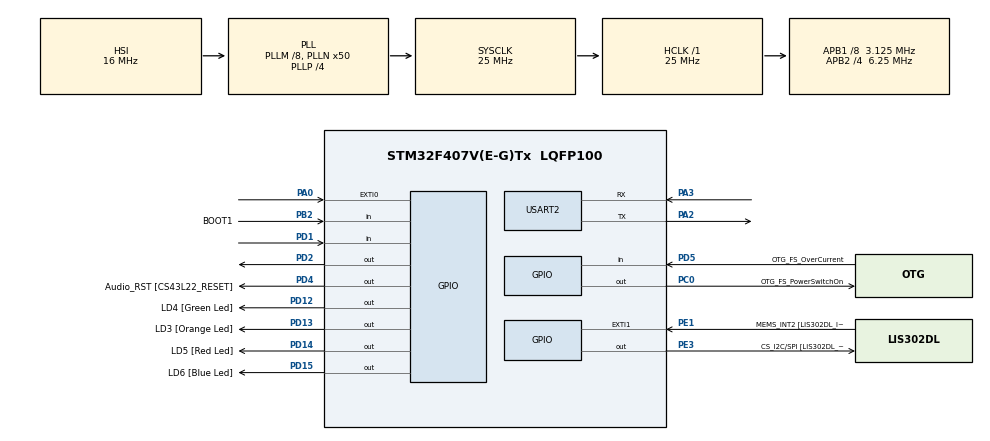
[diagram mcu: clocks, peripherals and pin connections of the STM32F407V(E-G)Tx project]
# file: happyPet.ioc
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Mcu.Family=STM32F4
Mcu.Name=STM32F407V(E-G)Tx
Mcu.Package=LQFP100
NVIC.EXTI0_IRQn=true\:0\:0\:false\:false\:true\:true
NVIC.PriorityGroup=NVIC_PRIORITYGROUP_0
NVIC.USART2_IRQn=true\:0\:0\:false\:false\:true\:true
PA0-WKUP.Signal=GPXTI0
PA10.GPIO_Label=OTG_FS_ID
PA10.GPIO_Mode=GPIO_MODE_AF_PP
PA10.GPIO_PuPd=GPIO_NOPULL
PA10.GPIO_Speed=GPIO_SPEED_FREQ_LOW
PA10.Signal=USB_OTG_FS_ID
PA11.GPIO_Label=OTG_FS_DM
PA11.GPIO_Mode=GPIO_MODE_AF_PP
PA11.GPIO_PuPd=GPIO_NOPULL
PA11.GPIO_Speed=GPIO_SPEED_FREQ_LOW
PA11.Signal=USB_OTG_FS_DM
PA12.GPIO_Label=OTG_FS_DP
PA12.GPIO_Mode=GPIO_MODE_AF_PP
PA12.GPIO_PuPd=GPIO_NOPULL
PA12.GPIO_Speed=GPIO_SPEED_FREQ_LOW
PA12.Signal=USB_OTG_FS_DP
PA13.GPIO_Label=SWDIO
PA13.Signal=SYS_JTMS-SWDIO
PA14.GPIO_Label=SWCLK
PA14.Signal=SYS_JTCK-SWCLK
PA2.Mode=Asynchronous
PA2.Signal=USART2_TX
PA3.Mode=Asynchronous
PA3.Signal=USART2_RX
PA4.GPIO_Label=I2S3_WS [CS43L22_LRCK]
PA4.GPIO_Mode=GPIO_MODE_AF_PP
PA4.GPIO_PuPd=GPIO_NOPULL
PA4.GPIO_Speed=GPIO_SPEED_FREQ_LOW
PA4.Signal=I2S3_WS
PA5.GPIO_Label=SPI1_SCK [LIS302DL_SCL/SPC]
PA5.GPIO_Mode=GPIO_MODE_AF_PP
PA5.GPIO_PuPd=GPIO_NOPULL
PA5.GPIO_Speed=GPIO_SPEED_FREQ_LOW
PA5.Signal=SPI1_SCK
PA6.GPIO_Label=SPI1_MISO [LIS302DL_SDO]
PA6.GPIO_Mode=GPIO_MODE_AF_PP
PA6.GPIO_PuPd=GPIO_NOPULL
PA6.GPIO_Speed=GPIO_SPEED_FREQ_LOW
PA6.Signal=SPI1_MISO
PA7.GPIO_Label=SPI1_MOSI [LIS302DL_SDA/SDI/SDO]
PA7.GPIO_Mode=GPIO_MODE_AF_PP
PA7.GPIO_PuPd=GPIO_NOPULL
PA7.GPIO_Speed=GPIO_SPEED_FREQ_LOW
PA7.Signal=SPI1_MOSI
PA9.GPIO_Label=VBUS_FS
PA9.GPIO_Mode=GPIO_MODE_INPUT
PA9.GPIO_PuPd=GPIO_NOPULL
PA9.Signal=USB_OTG_FS_VBUS
PB10.GPIO_Label=CLK_IN [MP45DT02_CLK]
PB10.GPIO_Mode=GPIO_MODE_AF_PP
PB10.GPIO_PuPd=GPIO_NOPULL
PB10.GPIO_Speed=GPIO_SPEED_FREQ_LOW
PB10.Signal=I2S2_CK
PB2.GPIO_Label=BOOT1
PB2.GPIO_Mode=GPIO_MODE_INPUT
PB2.GPIO_PuPd=GPIO_NOPULL
PB2.Signal=GPIO_Input
PB3.GPIO_Label=SWO
PB3.Signal=SYS_JTDO-SWO
PB6.GPIO_Label=Audio_SCL [CS43L22_SCL]
PB6.GPIO_Mode=GPIO_MODE_AF_OD
PB6.GPIO_PuPd=GPIO_NOPULL
PB6.GPIO_Speed=GPIO_SPEED_FREQ_LOW
PB6.Signal=I2C1_SCL
PB9.GPIO_Label=Audio_SDA [CS43L22_SDA]
PB9.GPIO_Mode=GPIO_MODE_AF_OD
PB9.GPIO_PuPd=GPIO_NOPULL
PB9.GPIO_Speed=GPIO_SPEED_FREQ_LOW
PB9.Signal=I2C1_SDA
PC0.GPIO_Label=OTG_FS_PowerSwitchOn
PC0.GPIO_PuPd=GPIO_NOPULL
PC0.GPIO_Speed=GPIO_SPEED_FREQ_LOW
PC0.PinState=GPIO_PIN_SET
PC0.Signal=GPIO_Output
PC10.GPIO_Label=I2S3_SCK [CS43L22_SCLK]
PC10.GPIO_Mode=GPIO_MODE_AF_PP
PC10.GPIO_PuPd=GPIO_NOPULL
PC10.GPIO_Speed=GPIO_SPEED_FREQ_LOW
PC10.Signal=I2S3_CK
PC12.GPIO_Label=I2S3_SD [CS43L22_SDIN]
PC12.GPIO_Mode=GPIO_MODE_AF_PP
PC12.GPIO_PuPd=GPIO_NOPULL
PC12.GPIO_Speed=GPIO_SPEED_FREQ_LOW
PC12.Signal=I2S3_SD
PC14-OSC32_IN.GPIO_Label=PC14-OSC32_IN
PC14-OSC32_IN.Signal=RCC_OSC32_IN
PC15-OSC32_OUT.GPIO_Label=PC15-OSC32_OUT
PC15-OSC32_OUT.Signal=RCC_OSC32_OUT
PC3.GPIO_Label=PDM_OUT [MP45DT02_DOUT]
PC3.GPIO_Mode=GPIO_MODE_AF_PP
PC3.GPIO_PuPd=GPIO_NOPULL
PC3.GPIO_Speed=GPIO_SPEED_FREQ_LOW
PC3.Signal=I2S2_SD
PC7.GPIO_Label=I2S3_MCK [CS43L22_MCLK]
PC7.GPIO_Mode=GPIO_MODE_AF_PP
PC7.GPIO_PuPd=GPIO_NOPULL
PC7.GPIO_Speed=GPIO_SPEED_FREQ_LOW
PC7.Signal=I2S3_MCK
PD1.Signal=GPIO_Input
PD12.GPIO_Label=LD4 [Green Led]
PD12.GPIO_PuPd=GPIO_NOPULL
PD12.GPIO_Speed=GPIO_SPEED_FREQ_LOW
PD12.Signal=GPIO_Output
PD13.GPIO_Label=LD3 [Orange Led]
PD13.GPIO_PuPd=GPIO_NOPULL
PD13.GPIO_Speed=GPIO_SPEED_FREQ_LOW
PD13.Signal=GPIO_Output
PD14.GPIO_Label=LD5 [Red Led]
PD14.GPIO_PuPd=GPIO_NOPULL
PD14.GPIO_Speed=GPIO_SPEED_FREQ_LOW
PD14.Signal=GPIO_Output
PD15.GPIO_Label=LD6 [Blue Led]
PD15.GPIO_PuPd=GPIO_NOPULL
PD15.GPIO_Speed=GPIO_SPEED_FREQ_LOW
PD15.Signal=GPIO_Output
PD2.Signal=GPIO_Output
PD4.GPIO_Label=Audio_RST [CS43L22_RESET]
PD4.GPIO_PuPd=GPIO_NOPULL
PD4.GPIO_Speed=GPIO_SPEED_FREQ_LOW
PD4.Signal=GPIO_Output
PD5.GPIO_Label=OTG_FS_OverCurrent
PD5.GPIO_Mode=GPIO_MODE_INPUT
PD5.GPIO_PuPd=GPIO_NOPULL
PD5.Signal=GPIO_Input
PE1.GPIO_Label=MEMS_INT2 [LIS302DL_INT2]
PE1.GPIO_ModeDefaultEXTI=GPIO_MODE_EVT_RISING
PE1.GPIO_PuPd=GPIO_NOPULL
PE1.Signal=GPXTI1
PE3.GPIO_Label=CS_I2C/SPI [LIS302DL_CS_I2C/SPI]
PE3.GPIO_PuPd=GPIO_NOPULL
PE3.GPIO_Speed=GPIO_SPEED_FREQ_LOW
PE3.Signal=GPIO_Output
PH0-OSC_IN.GPIO_Label=PH0-OSC_IN
PH0-OSC_IN.Signal=RCC_OSC_IN
PH1-OSC_OUT.GPIO_Label=PH1-OSC_OUT
PH1-OSC_OUT.Signal=RCC_OSC_OUT
ProjectManager.HeapSize=0x200
ProjectManager.StackSize=0x400
ProjectManager.TargetToolchain=SW4STM32
RCC.48MHZClocksFreq_Value=14285714.285714285
RCC.AHBFreq_Value=25000000
RCC.APB1CLKDivider=RCC_HCLK_DIV8
RCC.APB1Freq_Value=3125000
RCC.APB1TimFreq_Value=6250000
RCC.APB2CLKDivider=RCC_HCLK_DIV4
RCC.APB2Freq_Value=6250000
RCC.APB2TimFreq_Value=12500000
RCC.CortexFreq_Value=25000000
RCC.HCLKFreq_Value=25000000
RCC.HSE_VALUE=8000000
RCC.HSI_VALUE=16000000
RCC.LSE_VALUE=32768
RCC.PLLM=8
RCC.PLLN=50
RCC.PLLP=RCC_PLLP_DIV4
RCC.PLLQ=7
RCC.SYSCLKFreq_VALUE=25000000
RCC.SYSCLKSource=RCC_SYSCLKSOURCE_PLLCLK
RCC.VCOOutputFreq_Value=100000000
USART2.VirtualMode=VM_ASYNC
board=STM32F4DISCOVERY

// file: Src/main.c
/**
 ******************************************************************************
 * @file           : main.c
 * @brief          : Main program body
 ******************************************************************************
 ** This notice applies to any and all portions of this file
 * that are not between comment pairs USER CODE BEGIN and
 * USER CODE END. Other portions of this file, whether
 * inserted by the user or by software development tools
 * are owned by their respective copyright owners.
 *
 * COPYRIGHT(c) 2561 STMicroelectronics
 *
 * Redistribution and use in source and binary forms, with or without modification,
 * are permitted provided that the following conditions are met:
 *   1. Redistributions of source code must retain the above copyright notice,
 *      this list of conditions and the following disclaimer.
 *   2. Redistributions in binary form must reproduce the above copyright notice,
 *      this list of conditions and the following disclaimer in the documentation
 *      and/or other materials provided with the distribution.
 *   3. Neither the name of STMicroelectronics nor the names of its contributors
 *      may be used to endorse or promote products derived from this software
 *      without specific prior written permission.
 *
 * THIS SOFTWARE IS PROVIDED BY THE COPYRIGHT HOLDERS AND CONTRIBUTORS "AS IS"
 * AND ANY EXPRESS OR IMPLIED WARRANTIES, INCLUDING, BUT NOT LIMITED TO, THE
 * IMPLIED WARRANTIES OF MERCHANTABILITY AND FITNESS FOR A PARTICULAR PURPOSE ARE
 * DISCLAIMED. IN NO EVENT SHALL THE COPYRIGHT HOLDER OR CONTRIBUTORS BE LIABLE
 * FOR ANY DIRECT, INDIRECT, INCIDENTAL, SPECIAL, EXEMPLARY, OR CONSEQUENTIAL
 * DAMAGES (INCLUDING, BUT NOT LIMITED TO, PROCUREMENT OF SUBSTITUTE GOODS OR
 * SERVICES; LOSS OF USE, DATA, OR PROFITS; OR BUSINESS INTERRUPTION) HOWEVER
 * CAUSED AND ON ANY THEORY OF LIABILITY, WHETHER IN CONTRACT, STRICT LIABILITY,
 * OR TORT (INCLUDING NEGLIGENCE OR OTHERWISE) ARISING IN ANY WAY OUT OF THE USE
 * OF THIS SOFTWARE, EVEN IF ADVISED OF THE POSSIBILITY OF SUCH DAMAGE.
 *
 ******************************************************************************
 */
#include "main.h"
#include "stm32f4xx_hal.h"

UART_HandleTypeDef huart2;

/* USER CODE BEGIN PV */
/* Private variables ---------------------------------------------------------*/
int feed = 0, maxFeed = 4, overReq = 0;
int buffer;
char buffer2[32];
int w, p;
int isPressed = 0, state = 0, tick = 0;
int resetTime = 60, time = 0; // In half second
int food = 0;
int maxBowlCapacity = 500, bowl = 0, startBowl = 0, foodPerFeed = 200;
int addFood = 0;
char output[256];
/* USER CODE END PV */

void SystemClock_Config(void);
static void MX_GPIO_Init(void);
static void MX_USART2_UART_Init(void);

/* USER CODE BEGIN PFP */
/* Private function prototypes -----------------------------------------------*/

/* USER CODE END PFP */

/* USER CODE BEGIN 0 */

typedef struct _hx711 {
	GPIO_TypeDef* gpioSck;
	GPIO_TypeDef* gpioData;
	uint16_t pinSck;
	uint16_t pinData;

	int offset;
	int gain;
// 1: channel A, gain factor 128
// 2: channel B, gain factor 32
// 3: channel A, gain factor 64
} HX711;

HX711 data;

void HX711_Init(HX711 data) {
	GPIO_InitTypeDef GPIO_InitStruct;
	GPIO_InitStruct.Pin = data.pinSck;
	GPIO_InitStruct.Mode = GPIO_MODE_OUTPUT_PP;
	GPIO_InitStruct.Pull = GPIO_NOPULL;
	GPIO_InitStruct.Speed = GPIO_SPEED_FREQ_LOW;
	HAL_GPIO_Init(data.gpioSck, &GPIO_InitStruct);

	GPIO_InitStruct.Pin = data.pinData;
	GPIO_InitStruct.Mode = GPIO_MODE_INPUT;
	GPIO_InitStruct.Pull = GPIO_PULLUP;
	GPIO_InitStruct.Speed = GPIO_SPEED_FREQ_LOW;
	HAL_GPIO_Init(data.gpioData, &GPIO_InitStruct);

	HAL_GPIO_WritePin(data.gpioSck, data.pinSck, GPIO_PIN_SET);
	HAL_Delay(50);
	HAL_GPIO_WritePin(data.gpioData, data.pinSck, GPIO_PIN_RESET);

}

int HX711_Average_Value(HX711 data, uint8_t times) {
	int sum = 0;
	for (int i = 0; i < times; i++) {
		sum += HX711_Value(data);
		HAL_GPIO_TogglePin(GPIOD, GPIO_PIN_15);
	}

	return sum / times;
}

int HX711_Value(HX711 data) {
	int buffer;
	buffer = 0;

	while (HAL_GPIO_ReadPin(data.gpioData, data.pinData) == 1);

	for (uint8_t i = 0; i < 24; i++) {
		HAL_GPIO_WritePin(data.gpioSck, data.pinSck, GPIO_PIN_SET);

		buffer = buffer << 1;

		if (HAL_GPIO_ReadPin(data.gpioData, data.pinData)) {
			buffer++;
		}

		HAL_GPIO_WritePin(data.gpioSck, data.pinSck, GPIO_PIN_RESET);
	}

	for (int i = 0; i < data.gain; i++) {
		HAL_GPIO_WritePin(data.gpioSck, data.pinSck, GPIO_PIN_SET);
		HAL_GPIO_WritePin(data.gpioSck, data.pinSck, GPIO_PIN_RESET);
	}

	buffer = buffer ^ 0x800000;

	return buffer;
}

HX711 HX711_Tare(HX711 data, uint8_t times) {
	int sum = HX711_Average_Value(data, times);
	data.offset = sum;
	return data;
}

int getWeight() {
	buffer = HX711_Value(data) - data.offset;
	if(buffer<0)buffer=0;
	return buffer / 170;
}

int statefeed = 0;
void feeding() {
	int currentWeight = getWeight();
	if (foodPerFeed > (maxBowlCapacity - currentWeight)) {
		addFood = maxBowlCapacity - currentWeight;
	} else {
		addFood = foodPerFeed;
	}
	if(addFood < 0) addFood = 0;

	food += addFood;
	statefeed = 1;
	HAL_GPIO_TogglePin(GPIOD, GPIO_PIN_12);
}
/* USER CODE END 0 */

int main(void) {

	/* MCU Configuration----------------------------------------------------------*/

	/* Reset of all peripherals, Initializes the Flash interface and the Systick. */
	HAL_Init();

	/* Configure the system clock */
	SystemClock_Config();

	/* Initialize all configured peripherals */
	MX_GPIO_Init();
	MX_USART2_UART_Init();
	/* USER CODE BEGIN 2 */

	HAL_GPIO_TogglePin(GPIOD, GPIO_PIN_14);
//	HX711 data;
	data.gpioData = GPIOD;
	data.gpioSck = GPIOD;
	data.pinData = GPIO_PIN_1;
	data.pinSck = GPIO_PIN_2;
	data.gain = 1;
	HX711_Init(data);
	data = HX711_Tare(data, 100);

	HAL_GPIO_TogglePin(GPIOD, GPIO_PIN_12);
	HAL_GPIO_TogglePin(GPIOD, GPIO_PIN_13);
	HAL_GPIO_WritePin(GPIOD, GPIO_PIN_15, 1);

	/* USER CODE END 2 */

	/* Infinite loop */
	while (1) {

		/* USER CODE BEGIN 3 */
		memset(output, 0, 256);
		w = getWeight();
		memset(buffer2, 0, 32);

		if (time >= resetTime) {
			int catEat = startBowl+food-w;
			if(catEat > startBowl+food)catEat = startBowl+food;
			else if(catEat < 0)catEat = 0;

			sprintf(output, "Summary, Feed: %d times, Food: %dg, CatEat: %dg, Over: %d times.", feed, food, catEat, overReq);
			HAL_UART_Transmit(&huart2, output, sizeof(output), 100);
			feed = 0;
			time = 0;
			overReq = 0;
			food = 0;
			startBowl = w;
		}

		//1 tick = 100ms
		if (tick == 10) {
			sprintf(output, "weight: %d g feed: %d times TimeCounter: %d OverReqeust: %d times.", w, feed, time, overReq);
			HAL_UART_Transmit(&huart2, output, sizeof(output), 100);
			tick = 0;
		}

		if (HAL_UART_Receive(&huart2, buffer2, 7, 500) == HAL_OK) {
			//Type "feed" to trigger.
			if (buffer2[0] == '1') {
				HAL_GPIO_TogglePin(GPIOD, GPIO_PIN_14);
				feeding();
				feed++;
				statefeed = 0;
			}

			//Set max feed , food per feed
			else if (buffer2[0] == '2') {
//				memset(output, 0, 256);
//				sprintf(output, "weight: %d g feed: %d times OverReqeust: %d times.", w, feed, overReq);
//				HAL_UART_Transmit(&huart2, output, sizeof(output), 100);
				char *ptr;
				ptr = strtok(buffer2," ");
				ptr = strtok(NULL," ");//ptr point to second element.
				maxFeed = atoi(ptr);

				ptr = strtok(NULL," ");//ptr point to third element.
				foodPerFeed = atoi(ptr);

				sprintf(output, "Now set max feed to %d and food per feed to %d.", maxFeed, foodPerFeed);
				HAL_UART_Transmit(&huart2, output, sizeof(output),100);
			}
		}

		if(statefeed == 1 ){
			sprintf(output, "Feeding: %dg.", addFood);
			HAL_UART_Transmit(&huart2, output, sizeof(output),100);
			statefeed = 0;
		}

		tick++;
		time++;
		HAL_GPIO_TogglePin(GPIOD, GPIO_PIN_15);
		HAL_Delay(100);
	}
	/* USER CODE END 3 */

}

void SystemClock_Config(void) {

	RCC_OscInitTypeDef RCC_OscInitStruct;
	RCC_ClkInitTypeDef RCC_ClkInitStruct;

	/**Configure the main internal regulator output voltage
	 */
	__HAL_RCC_PWR_CLK_ENABLE()
	;

	__HAL_PWR_VOLTAGESCALING_CONFIG(PWR_REGULATOR_VOLTAGE_SCALE1);

	/**Initializes the CPU, AHB and APB busses clocks
	 */
	RCC_OscInitStruct.OscillatorType = RCC_OSCILLATORTYPE_HSI;
	RCC_OscInitStruct.HSIState = RCC_HSI_ON;
	RCC_OscInitStruct.HSICalibrationValue = 16;
	RCC_OscInitStruct.PLL.PLLState = RCC_PLL_ON;
	RCC_OscInitStruct.PLL.PLLSource = RCC_PLLSOURCE_HSI;
	RCC_OscInitStruct.PLL.PLLM = 8;
	RCC_OscInitStruct.PLL.PLLN = 50;
	RCC_OscInitStruct.PLL.PLLP = RCC_PLLP_DIV4;
	RCC_OscInitStruct.PLL.PLLQ = 7;
	if (HAL_RCC_OscConfig(&RCC_OscInitStruct) != HAL_OK) {
		_Error_Handler(__FILE__, __LINE__);
	}

	/**Initializes the CPU, AHB and APB busses clocks
	 */
	RCC_ClkInitStruct.ClockType = RCC_CLOCKTYPE_HCLK | RCC_CLOCKTYPE_SYSCLK
			| RCC_CLOCKTYPE_PCLK1 | RCC_CLOCKTYPE_PCLK2;
	RCC_ClkInitStruct.SYSCLKSource = RCC_SYSCLKSOURCE_PLLCLK;
	RCC_ClkInitStruct.AHBCLKDivider = RCC_SYSCLK_DIV1;
	RCC_ClkInitStruct.APB1CLKDivider = RCC_HCLK_DIV8;
	RCC_ClkInitStruct.APB2CLKDivider = RCC_HCLK_DIV4;

	if (HAL_RCC_ClockConfig(&RCC_ClkInitStruct, FLASH_LATENCY_0) != HAL_OK) {
		_Error_Handler(__FILE__, __LINE__);
	}

	/**Configure the Systick interrupt time
	 */
	HAL_SYSTICK_Config(HAL_RCC_GetHCLKFreq() / 1000);

	/**Configure the Systick
	 */
	HAL_SYSTICK_CLKSourceConfig(SYSTICK_CLKSOURCE_HCLK);

	/* SysTick_IRQn interrupt configuration */
	HAL_NVIC_SetPriority(SysTick_IRQn, 0, 0);
}

/* USART2 init function */
static void MX_USART2_UART_Init(void) {

	huart2.Instance = USART2;
	huart2.Init.BaudRate = 115200;
	huart2.Init.WordLength = UART_WORDLENGTH_8B;
	huart2.Init.StopBits = UART_STOPBITS_1;
	huart2.Init.Parity = UART_PARITY_NONE;
	huart2.Init.Mode = UART_MODE_TX_RX;
	huart2.Init.HwFlowCtl = UART_HWCONTROL_NONE;
	huart2.Init.OverSampling = UART_OVERSAMPLING_16;
	if (HAL_UART_Init(&huart2) != HAL_OK) {
		_Error_Handler(__FILE__, __LINE__);
	}

}

/** Configure pins as
 * Analog
 * Input
 * Output
 * EVENT_OUT
 * EXTI
 PC3   ------> I2S2_SD
 PA4   ------> I2S3_WS
 PA5   ------> SPI1_SCK
 PA6   ------> SPI1_MISO
 PA7   ------> SPI1_MOSI
 PB10   ------> I2S2_CK
 PC7   ------> I2S3_MCK
 PA9   ------> USB_OTG_FS_VBUS
 PA10   ------> USB_OTG_FS_ID
 PA11   ------> USB_OTG_FS_DM
 PA12   ------> USB_OTG_FS_DP
 PC10   ------> I2S3_CK
 PC12   ------> I2S3_SD
 PB6   ------> I2C1_SCL
 PB9   ------> I2C1_SDA
 */
static void MX_GPIO_Init(void) {

	GPIO_InitTypeDef GPIO_InitStruct;

	/* GPIO Ports Clock Enable */
	__HAL_RCC_GPIOE_CLK_ENABLE()
	;
	__HAL_RCC_GPIOC_CLK_ENABLE()
	;
	__HAL_RCC_GPIOH_CLK_ENABLE()
	;
	__HAL_RCC_GPIOA_CLK_ENABLE()
	;
	__HAL_RCC_GPIOB_CLK_ENABLE()
	;
	__HAL_RCC_GPIOD_CLK_ENABLE()
	;

	/*Configure GPIO pin Output Level */
	HAL_GPIO_WritePin(CS_I2C_SPI_GPIO_Port, CS_I2C_SPI_Pin, GPIO_PIN_RESET);

	/*Configure GPIO pin Output Level */
	HAL_GPIO_WritePin(OTG_FS_PowerSwitchOn_GPIO_Port, OTG_FS_PowerSwitchOn_Pin,
			GPIO_PIN_SET);

	/*Configure GPIO pin Output Level */
	HAL_GPIO_WritePin(GPIOD,
			LD4_Pin | LD3_Pin | LD5_Pin | LD6_Pin | GPIO_PIN_2 | Audio_RST_Pin,
			GPIO_PIN_RESET);

	/*Configure GPIO pin : CS_I2C_SPI_Pin */
	GPIO_InitStruct.Pin = CS_I2C_SPI_Pin;
	GPIO_InitStruct.Mode = GPIO_MODE_OUTPUT_PP;
	GPIO_InitStruct.Pull = GPIO_NOPULL;
	GPIO_InitStruct.Speed = GPIO_SPEED_FREQ_LOW;
	HAL_GPIO_Init(CS_I2C_SPI_GPIO_Port, &GPIO_InitStruct);

	/*Configure GPIO pin : OTG_FS_PowerSwitchOn_Pin */
	GPIO_InitStruct.Pin = OTG_FS_PowerSwitchOn_Pin;
	GPIO_InitStruct.Mode = GPIO_MODE_OUTPUT_PP;
	GPIO_InitStruct.Pull = GPIO_NOPULL;
	GPIO_InitStruct.Speed = GPIO_SPEED_FREQ_LOW;
	HAL_GPIO_Init(OTG_FS_PowerSwitchOn_GPIO_Port, &GPIO_InitStruct);

	/*Configure GPIO pin : PDM_OUT_Pin */
	GPIO_InitStruct.Pin = PDM_OUT_Pin;
	GPIO_InitStruct.Mode = GPIO_MODE_AF_PP;
	GPIO_InitStruct.Pull = GPIO_NOPULL;
	GPIO_InitStruct.Speed = GPIO_SPEED_FREQ_LOW;
	GPIO_InitStruct.Alternate = GPIO_AF5_SPI2;
	HAL_GPIO_Init(PDM_OUT_GPIO_Port, &GPIO_InitStruct);

	/*Configure GPIO pin : PA0 */
	GPIO_InitStruct.Pin = GPIO_PIN_0;
	GPIO_InitStruct.Mode = GPIO_MODE_IT_RISING;
	GPIO_InitStruct.Pull = GPIO_NOPULL;
	HAL_GPIO_Init(GPIOA, &GPIO_InitStruct);

	/*Configure GPIO pin : I2S3_WS_Pin */
	GPIO_InitStruct.Pin = I2S3_WS_Pin;
	GPIO_InitStruct.Mode = GPIO_MODE_AF_PP;
	GPIO_InitStruct.Pull = GPIO_NOPULL;
	GPIO_InitStruct.Speed = GPIO_SPEED_FREQ_LOW;
	GPIO_InitStruct.Alternate = GPIO_AF6_SPI3;
	HAL_GPIO_Init(I2S3_WS_GPIO_Port, &GPIO_InitStruct);

	/*Configure GPIO pins : SPI1_SCK_Pin SPI1_MISO_Pin SPI1_MOSI_Pin */
	GPIO_InitStruct.Pin = SPI1_SCK_Pin | SPI1_MISO_Pin | SPI1_MOSI_Pin;
	GPIO_InitStruct.Mode = GPIO_MODE_AF_PP;
	GPIO_InitStruct.Pull = GPIO_NOPULL;
	GPIO_InitStruct.Speed = GPIO_SPEED_FREQ_LOW;
	GPIO_InitStruct.Alternate = GPIO_AF5_SPI1;
	HAL_GPIO_Init(GPIOA, &GPIO_InitStruct);

	/*Configure GPIO pin : BOOT1_Pin */
	GPIO_InitStruct.Pin = BOOT1_Pin;
	GPIO_InitStruct.Mode = GPIO_MODE_INPUT;
	GPIO_InitStruct.Pull = GPIO_NOPULL;
	HAL_GPIO_Init(BOOT1_GPIO_Port, &GPIO_InitStruct);

	/*Configure GPIO pin : CLK_IN_Pin */
	GPIO_InitStruct.Pin = CLK_IN_Pin;
	GPIO_InitStruct.Mode = GPIO_MODE_AF_PP;
	GPIO_InitStruct.Pull = GPIO_NOPULL;
	GPIO_InitStruct.Speed = GPIO_SPEED_FREQ_LOW;
	GPIO_InitStruct.Alternate = GPIO_AF5_SPI2;
	HAL_GPIO_Init(CLK_IN_GPIO_Port, &GPIO_InitStruct);

	/*Configure GPIO pins : LD4_Pin LD3_Pin LD5_Pin LD6_Pin
	 PD2 Audio_RST_Pin */
	GPIO_InitStruct.Pin = LD4_Pin | LD3_Pin | LD5_Pin | LD6_Pin | GPIO_PIN_2
			| Audio_RST_Pin;
	GPIO_InitStruct.Mode = GPIO_MODE_OUTPUT_PP;
	GPIO_InitStruct.Pull = GPIO_NOPULL;
	GPIO_InitStruct.Speed = GPIO_SPEED_FREQ_LOW;
	HAL_GPIO_Init(GPIOD, &GPIO_InitStruct);

	/*Configure GPIO pins : I2S3_MCK_Pin I2S3_SCK_Pin I2S3_SD_Pin */
	GPIO_InitStruct.Pin = I2S3_MCK_Pin | I2S3_SCK_Pin | I2S3_SD_Pin;
	GPIO_InitStruct.Mode = GPIO_MODE_AF_PP;
	GPIO_InitStruct.Pull = GPIO_NOPULL;
	GPIO_InitStruct.Speed = GPIO_SPEED_FREQ_LOW;
	GPIO_InitStruct.Alternate = GPIO_AF6_SPI3;
	HAL_GPIO_Init(GPIOC, &GPIO_InitStruct);

	/*Configure GPIO pin : VBUS_FS_Pin */
	GPIO_InitStruct.Pin = VBUS_FS_Pin;
	GPIO_InitStruct.Mode = GPIO_MODE_INPUT;
	GPIO_InitStruct.Pull = GPIO_NOPULL;
	HAL_GPIO_Init(VBUS_FS_GPIO_Port, &GPIO_InitStruct);

	/*Configure GPIO pins : OTG_FS_ID_Pin OTG_FS_DM_Pin OTG_FS_DP_Pin */
	GPIO_InitStruct.Pin = OTG_FS_ID_Pin | OTG_FS_DM_Pin | OTG_FS_DP_Pin;
	GPIO_InitStruct.Mode = GPIO_MODE_AF_PP;
	GPIO_InitStruct.Pull = GPIO_NOPULL;
	GPIO_InitStruct.Speed = GPIO_SPEED_FREQ_LOW;
	GPIO_InitStruct.Alternate = GPIO_AF10_OTG_FS;
	HAL_GPIO_Init(GPIOA, &GPIO_InitStruct);

	/*Configure GPIO pins : PD1 OTG_FS_OverCurrent_Pin */
	GPIO_InitStruct.Pin = GPIO_PIN_1 | OTG_FS_OverCurrent_Pin;
	GPIO_InitStruct.Mode = GPIO_MODE_INPUT;
	GPIO_InitStruct.Pull = GPIO_NOPULL;
	HAL_GPIO_Init(GPIOD, &GPIO_InitStruct);

	/*Configure GPIO pins : Audio_SCL_Pin Audio_SDA_Pin */
	GPIO_InitStruct.Pin = Audio_SCL_Pin | Audio_SDA_Pin;
	GPIO_InitStruct.Mode = GPIO_MODE_AF_OD;
	GPIO_InitStruct.Pull = GPIO_PULLUP;
	GPIO_InitStruct.Speed = GPIO_SPEED_FREQ_LOW;
	GPIO_InitStruct.Alternate = GPIO_AF4_I2C1;
	HAL_GPIO_Init(GPIOB, &GPIO_InitStruct);

	/*Configure GPIO pin : MEMS_INT2_Pin */
	GPIO_InitStruct.Pin = MEMS_INT2_Pin;
	GPIO_InitStruct.Mode = GPIO_MODE_EVT_RISING;
	GPIO_InitStruct.Pull = GPIO_NOPULL;
	HAL_GPIO_Init(MEMS_INT2_GPIO_Port, &GPIO_InitStruct);

	/* EXTI interrupt init*/
	HAL_NVIC_SetPriority(EXTI0_IRQn, 0, 0);
	HAL_NVIC_EnableIRQ(EXTI0_IRQn);

}

void _Error_Handler(char *file, int line) {
	while (1) {
	}
}

/************************ (C) COPYRIGHT STMicroelectronics *****END OF FILE****/
